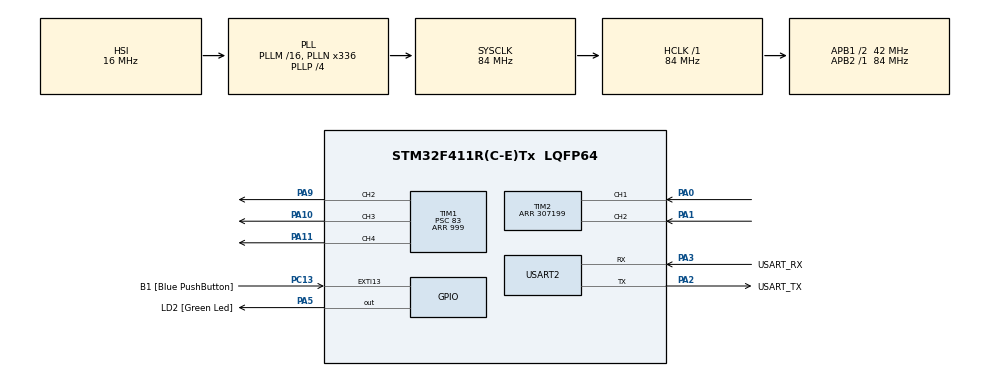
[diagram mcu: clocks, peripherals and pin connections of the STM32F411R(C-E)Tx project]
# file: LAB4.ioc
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ARM.CMSIS.5.6.0.CMSISJjCORE=true
ARM.CMSIS.5.6.0.CMSISJjDSP=Library
Mcu.Family=STM32F4
Mcu.Name=STM32F411R(C-E)Tx
Mcu.Package=LQFP64
NVIC.PriorityGroup=NVIC_PRIORITYGROUP_0
PA0-WKUP.Signal=S_TIM2_CH1_ETR
PA1.Signal=S_TIM2_CH2
PA10.Signal=S_TIM1_CH3
PA11.Signal=S_TIM1_CH4
PA13.GPIO_Label=TMS
PA13.Mode=Trace_Asynchronous_SW
PA13.Signal=SYS_JTMS-SWDIO
PA14.GPIO_Label=TCK
PA14.Mode=Trace_Asynchronous_SW
PA14.Signal=SYS_JTCK-SWCLK
PA2.GPIO_Label=USART_TX
PA2.Mode=Asynchronous
PA2.Signal=USART2_TX
PA3.GPIO_Label=USART_RX
PA3.Mode=Asynchronous
PA3.Signal=USART2_RX
PA5.GPIO_Label=LD2 [Green Led]
PA5.Signal=GPIO_Output
PA9.Signal=S_TIM1_CH2
PB3.GPIO_Label=SWO
PB3.Mode=Trace_Asynchronous_SW
PB3.Signal=SYS_JTDO-SWO
PC13-ANTI_TAMP.GPIO_Label=B1 [Blue PushButton]
PC13-ANTI_TAMP.GPIO_ModeDefaultEXTI=GPIO_MODE_IT_FALLING
PC13-ANTI_TAMP.Signal=GPXTI13
PC14-OSC32_IN.Mode=LSE-External-Oscillator
PC14-OSC32_IN.Signal=RCC_OSC32_IN
PC15-OSC32_OUT.Mode=LSE-External-Oscillator
PC15-OSC32_OUT.Signal=RCC_OSC32_OUT
PH0\ -\ OSC_IN.Mode=HSE-External-Clock-Source
PH0\ -\ OSC_IN.Signal=RCC_OSC_IN
PH1\ -\ OSC_OUT.Mode=HSE-External-Clock-Source
PH1\ -\ OSC_OUT.Signal=RCC_OSC_OUT
ProjectManager.HeapSize=0x200
ProjectManager.StackSize=0x400
ProjectManager.TargetToolchain=STM32CubeIDE
RCC.48MHZClocksFreq_Value=84000000
RCC.AHBFreq_Value=84000000
RCC.APB1CLKDivider=RCC_HCLK_DIV2
RCC.APB1Freq_Value=42000000
RCC.APB1TimFreq_Value=84000000
RCC.APB2Freq_Value=84000000
RCC.APB2TimFreq_Value=84000000
RCC.CortexFreq_Value=84000000
RCC.FLatency-AdvancedSettings=FLASH_LATENCY_2
RCC.HCLKFreq_Value=84000000
RCC.HSE_VALUE=8000000
RCC.HSI_VALUE=16000000
RCC.PLLN=336
RCC.PLLP=RCC_PLLP_DIV4
RCC.SYSCLKFreq_VALUE=84000000
RCC.SYSCLKSource=RCC_SYSCLKSOURCE_PLLCLK
RCC.VCOOutputFreq_Value=336000000
SH.S_TIM1_CH2.0=TIM1_CH2,PWM Generation2 CH2
SH.S_TIM1_CH3.0=TIM1_CH3,PWM Generation3 CH3
SH.S_TIM1_CH4.0=TIM1_CH4,PWM Generation4 CH4
SH.S_TIM2_CH1_ETR.0=TIM2_CH1,Encoder_Interface
SH.S_TIM2_CH2.0=TIM2_CH2,Encoder_Interface
TIM1.Channel-PWM\ Generation2\ CH2=TIM_CHANNEL_2
TIM1.Channel-PWM\ Generation3\ CH3=TIM_CHANNEL_3
TIM1.Channel-PWM\ Generation4\ CH4=TIM_CHANNEL_4
TIM1.Period=999
TIM1.Prescaler=83
TIM2.EncoderMode=TIM_ENCODERMODE_TI12
TIM2.Period=307199
USART2.VirtualMode=VM_ASYNC
VP_ARM.CMSIS_VS_CMSISJjCORE_5.3.0_5.6.0.Mode=CMSISJjCORE
VP_ARM.CMSIS_VS_CMSISJjDSP_1.7.0_5.6.0.Mode=CMSISJjDSP
VP_TIM1_VS_ClockSourceINT.Mode=Internal
board=NUCLEO-F411RE

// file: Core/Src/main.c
/* USER CODE BEGIN Header */
/**
  ******************************************************************************
  * @file           : main.c
  * @brief          : Main program body
  ******************************************************************************
  * @attention
  *
  * Copyright (c) 2023 STMicroelectronics.
  * All rights reserved.
  *
  * This software is licensed under terms that can be found in the LICENSE file
  * in the root directory of this software component.
  * If no LICENSE file comes with this software, it is provided AS-IS.
  *
  ******************************************************************************
  */
/* USER CODE END Header */
#include "main.h"

/* USER CODE BEGIN Includes */
#include "arm_math.h"
#include <stdio.h>
/* USER CODE END Includes */

TIM_HandleTypeDef htim1;
TIM_HandleTypeDef htim2;

UART_HandleTypeDef huart2;

/* USER CODE BEGIN PV */
float QEIReadRaw;
//PID
//PID Gain
float Kp = 0.5;
float Ki = 0.2;
float Kd = 0.1;
//PID set float
float P =0;
float I =0;
float D =0;
float setpoint = 0;
float error = 0;
float previous_error = 0;
float integral = 0;
float derivative = 0;
float output = 0;
float motor_position =0;
float Vfeedback = 0;
float position = 0;
arm_pid_instance_f32 PID = {0};
//Motor
uint32_t Duty = 0;
/* USER CODE END PV */

void SystemClock_Config(void);
static void MX_GPIO_Init(void);
static void MX_USART2_UART_Init(void);
static void MX_TIM1_Init(void);
static void MX_TIM2_Init(void);
/* USER CODE BEGIN PFP */
void PID_Control (float setpoint);
/* USER CODE END PFP */

int main(void)
{

  /* MCU Configuration--------------------------------------------------------*/

  /* Reset of all peripherals, Initializes the Flash interface and the Systick. */
  HAL_Init();

  /* Configure the system clock */
  SystemClock_Config();

  /* Initialize all configured peripherals */
  MX_GPIO_Init();
  MX_USART2_UART_Init();
  MX_TIM1_Init();
  MX_TIM2_Init();
  /* USER CODE BEGIN 2 */
  HAL_TIM_Encoder_Start(&htim2,TIM_CHANNEL_1|TIM_CHANNEL_2);

  HAL_TIM_Base_Start(&htim1);
  HAL_TIM_PWM_Start(&htim1, TIM_CHANNEL_3);
  HAL_TIM_PWM_Start(&htim1, TIM_CHANNEL_2);

  PID.Kp = 5;
  PID.Ki = 0.01;
  PID.Kd = 0;
  arm_pid_init_f32(&PID,0);

  /* USER CODE END 2 */

  /* Infinite loop */
  while (1)
  {

    /* USER CODE BEGIN 3 */
	  static uint32_t timestamp =0;
	  if (HAL_GetTick()>= timestamp)
	  {
		  timestamp = HAL_GetTick()+10;
		  QEIReadRaw = __HAL_TIM_GET_COUNTER(&htim2);
//	  	printf("Position = %ld\n",QEIReadRaw);
		  position = ((QEIReadRaw/307200)*36000);
		  error = setpoint - position;
		  Vfeedback = arm_pid_f32(&PID,error);
		   output= Vfeedback;
		  if(output >1000 )
		  {
			  output = 1000;
		  }
		  else if (output < -1000)
		  {
			  output = -1000;
		  }
		  if(!(error > -1 && error <-1))
		  {
			  if(output >= 0)
			  {
				  __HAL_TIM_SET_COMPARE(&htim1,TIM_CHANNEL_3,output);
				  __HAL_TIM_SET_COMPARE(&htim1,TIM_CHANNEL_2,0);
			  }
			  else if (output < 0)
			  {
				  __HAL_TIM_SET_COMPARE(&htim1,TIM_CHANNEL_3,0);
				  __HAL_TIM_SET_COMPARE(&htim1,TIM_CHANNEL_2,-output);
			  }
		  }
	  	  }
  	  }
  /* USER CODE END 3 */
}

void SystemClock_Config(void)
{
  RCC_OscInitTypeDef RCC_OscInitStruct = {0};
  RCC_ClkInitTypeDef RCC_ClkInitStruct = {0};

  /** Configure the main internal regulator output voltage
  */
  __HAL_RCC_PWR_CLK_ENABLE();
  __HAL_PWR_VOLTAGESCALING_CONFIG(PWR_REGULATOR_VOLTAGE_SCALE1);

  /** Initializes the RCC Oscillators according to the specified parameters
  * in the RCC_OscInitTypeDef structure.
  */
  RCC_OscInitStruct.OscillatorType = RCC_OSCILLATORTYPE_HSI;
  RCC_OscInitStruct.HSIState = RCC_HSI_ON;
  RCC_OscInitStruct.HSICalibrationValue = RCC_HSICALIBRATION_DEFAULT;
  RCC_OscInitStruct.PLL.PLLState = RCC_PLL_ON;
  RCC_OscInitStruct.PLL.PLLSource = RCC_PLLSOURCE_HSI;
  RCC_OscInitStruct.PLL.PLLM = 16;
  RCC_OscInitStruct.PLL.PLLN = 336;
  RCC_OscInitStruct.PLL.PLLP = RCC_PLLP_DIV4;
  RCC_OscInitStruct.PLL.PLLQ = 4;
  if (HAL_RCC_OscConfig(&RCC_OscInitStruct) != HAL_OK)
  {
    Error_Handler();
  }

  /** Initializes the CPU, AHB and APB buses clocks
  */
  RCC_ClkInitStruct.ClockType = RCC_CLOCKTYPE_HCLK|RCC_CLOCKTYPE_SYSCLK
                              |RCC_CLOCKTYPE_PCLK1|RCC_CLOCKTYPE_PCLK2;
  RCC_ClkInitStruct.SYSCLKSource = RCC_SYSCLKSOURCE_PLLCLK;
  RCC_ClkInitStruct.AHBCLKDivider = RCC_SYSCLK_DIV1;
  RCC_ClkInitStruct.APB1CLKDivider = RCC_HCLK_DIV2;
  RCC_ClkInitStruct.APB2CLKDivider = RCC_HCLK_DIV1;

  if (HAL_RCC_ClockConfig(&RCC_ClkInitStruct, FLASH_LATENCY_2) != HAL_OK)
  {
    Error_Handler();
  }
}

static void MX_TIM1_Init(void)
{

  TIM_ClockConfigTypeDef sClockSourceConfig = {0};
  TIM_MasterConfigTypeDef sMasterConfig = {0};
  TIM_OC_InitTypeDef sConfigOC = {0};
  TIM_BreakDeadTimeConfigTypeDef sBreakDeadTimeConfig = {0};

  htim1.Instance = TIM1;
  htim1.Init.Prescaler = 83;
  htim1.Init.CounterMode = TIM_COUNTERMODE_UP;
  htim1.Init.Period = 999;
  htim1.Init.ClockDivision = TIM_CLOCKDIVISION_DIV1;
  htim1.Init.RepetitionCounter = 0;
  htim1.Init.AutoReloadPreload = TIM_AUTORELOAD_PRELOAD_DISABLE;
  if (HAL_TIM_Base_Init(&htim1) != HAL_OK)
  {
    Error_Handler();
  }
  sClockSourceConfig.ClockSource = TIM_CLOCKSOURCE_INTERNAL;
  if (HAL_TIM_ConfigClockSource(&htim1, &sClockSourceConfig) != HAL_OK)
  {
    Error_Handler();
  }
  if (HAL_TIM_PWM_Init(&htim1) != HAL_OK)
  {
    Error_Handler();
  }
  sMasterConfig.MasterOutputTrigger = TIM_TRGO_RESET;
  sMasterConfig.MasterSlaveMode = TIM_MASTERSLAVEMODE_DISABLE;
  if (HAL_TIMEx_MasterConfigSynchronization(&htim1, &sMasterConfig) != HAL_OK)
  {
    Error_Handler();
  }
  sConfigOC.OCMode = TIM_OCMODE_PWM1;
  sConfigOC.Pulse = 0;
  sConfigOC.OCPolarity = TIM_OCPOLARITY_HIGH;
  sConfigOC.OCNPolarity = TIM_OCNPOLARITY_HIGH;
  sConfigOC.OCFastMode = TIM_OCFAST_DISABLE;
  sConfigOC.OCIdleState = TIM_OCIDLESTATE_RESET;
  sConfigOC.OCNIdleState = TIM_OCNIDLESTATE_RESET;
  if (HAL_TIM_PWM_ConfigChannel(&htim1, &sConfigOC, TIM_CHANNEL_2) != HAL_OK)
  {
    Error_Handler();
  }
  if (HAL_TIM_PWM_ConfigChannel(&htim1, &sConfigOC, TIM_CHANNEL_3) != HAL_OK)
  {
    Error_Handler();
  }
  if (HAL_TIM_PWM_ConfigChannel(&htim1, &sConfigOC, TIM_CHANNEL_4) != HAL_OK)
  {
    Error_Handler();
  }
  sBreakDeadTimeConfig.OffStateRunMode = TIM_OSSR_DISABLE;
  sBreakDeadTimeConfig.OffStateIDLEMode = TIM_OSSI_DISABLE;
  sBreakDeadTimeConfig.LockLevel = TIM_LOCKLEVEL_OFF;
  sBreakDeadTimeConfig.DeadTime = 0;
  sBreakDeadTimeConfig.BreakState = TIM_BREAK_DISABLE;
  sBreakDeadTimeConfig.BreakPolarity = TIM_BREAKPOLARITY_HIGH;
  sBreakDeadTimeConfig.AutomaticOutput = TIM_AUTOMATICOUTPUT_DISABLE;
  if (HAL_TIMEx_ConfigBreakDeadTime(&htim1, &sBreakDeadTimeConfig) != HAL_OK)
  {
    Error_Handler();
  }
  HAL_TIM_MspPostInit(&htim1);

}

static void MX_TIM2_Init(void)
{

  TIM_Encoder_InitTypeDef sConfig = {0};
  TIM_MasterConfigTypeDef sMasterConfig = {0};

  htim2.Instance = TIM2;
  htim2.Init.Prescaler = 0;
  htim2.Init.CounterMode = TIM_COUNTERMODE_UP;
  htim2.Init.Period = 307199;
  htim2.Init.ClockDivision = TIM_CLOCKDIVISION_DIV1;
  htim2.Init.AutoReloadPreload = TIM_AUTORELOAD_PRELOAD_DISABLE;
  sConfig.EncoderMode = TIM_ENCODERMODE_TI12;
  sConfig.IC1Polarity = TIM_ICPOLARITY_RISING;
  sConfig.IC1Selection = TIM_ICSELECTION_DIRECTTI;
  sConfig.IC1Prescaler = TIM_ICPSC_DIV1;
  sConfig.IC1Filter = 0;
  sConfig.IC2Polarity = TIM_ICPOLARITY_RISING;
  sConfig.IC2Selection = TIM_ICSELECTION_DIRECTTI;
  sConfig.IC2Prescaler = TIM_ICPSC_DIV1;
  sConfig.IC2Filter = 0;
  if (HAL_TIM_Encoder_Init(&htim2, &sConfig) != HAL_OK)
  {
    Error_Handler();
  }
  sMasterConfig.MasterOutputTrigger = TIM_TRGO_RESET;
  sMasterConfig.MasterSlaveMode = TIM_MASTERSLAVEMODE_DISABLE;
  if (HAL_TIMEx_MasterConfigSynchronization(&htim2, &sMasterConfig) != HAL_OK)
  {
    Error_Handler();
  }

}

static void MX_USART2_UART_Init(void)
{

  huart2.Instance = USART2;
  huart2.Init.BaudRate = 115200;
  huart2.Init.WordLength = UART_WORDLENGTH_8B;
  huart2.Init.StopBits = UART_STOPBITS_1;
  huart2.Init.Parity = UART_PARITY_NONE;
  huart2.Init.Mode = UART_MODE_TX_RX;
  huart2.Init.HwFlowCtl = UART_HWCONTROL_NONE;
  huart2.Init.OverSampling = UART_OVERSAMPLING_16;
  if (HAL_UART_Init(&huart2) != HAL_OK)
  {
    Error_Handler();
  }

}

static void MX_GPIO_Init(void)
{
  GPIO_InitTypeDef GPIO_InitStruct = {0};

  /* GPIO Ports Clock Enable */
  __HAL_RCC_GPIOC_CLK_ENABLE();
  __HAL_RCC_GPIOH_CLK_ENABLE();
  __HAL_RCC_GPIOA_CLK_ENABLE();
  __HAL_RCC_GPIOB_CLK_ENABLE();

  /*Configure GPIO pin Output Level */
  HAL_GPIO_WritePin(LD2_GPIO_Port, LD2_Pin, GPIO_PIN_RESET);

  /*Configure GPIO pin : B1_Pin */
  GPIO_InitStruct.Pin = B1_Pin;
  GPIO_InitStruct.Mode = GPIO_MODE_IT_FALLING;
  GPIO_InitStruct.Pull = GPIO_NOPULL;
  HAL_GPIO_Init(B1_GPIO_Port, &GPIO_InitStruct);

  /*Configure GPIO pin : LD2_Pin */
  GPIO_InitStruct.Pin = LD2_Pin;
  GPIO_InitStruct.Mode = GPIO_MODE_OUTPUT_PP;
  GPIO_InitStruct.Pull = GPIO_NOPULL;
  GPIO_InitStruct.Speed = GPIO_SPEED_FREQ_LOW;
  HAL_GPIO_Init(LD2_GPIO_Port, &GPIO_InitStruct);

}

/* USER CODE BEGIN 4 */
int _write(int file,char *ptr,int len)
{
	int i ;
	for(i =0; i<len; i++)
	{
		ITM_SendChar(*ptr++);
	}
	return len;
}
void PID_Control (float setpoint)
{
	// Run the control loop until the motor reaches the setpoint
	while (fabs(motor_position - setpoint) > 0.01)
	  {
	   motor_position = (QEIReadRaw/372000)*36000 ; // Position motor from QEI
	   // Calculate the error
	   error = setpoint - motor_position;
	   if (error > 18000)
	   {
		   error -= 36000;
       }
	   else if (error < -18000.0)
	   {
	       error += 36000;
       }
	   // Calculate the control output using PID
	   //P term
	   P = Kp * error ;
	   //I term
	   integral += error;
	   I = Ki * integral;
	   // D term
	   D = Kd * (error - previous_error);
	   output = P+I+D;

	   // Update the previous error and derivative
       previous_error = error;
	   derivative = error - previous_error;

	  }
}
/* USER CODE END 4 */

void Error_Handler(void)
{
  __disable_irq();
  while (1)
  {
  }
}
